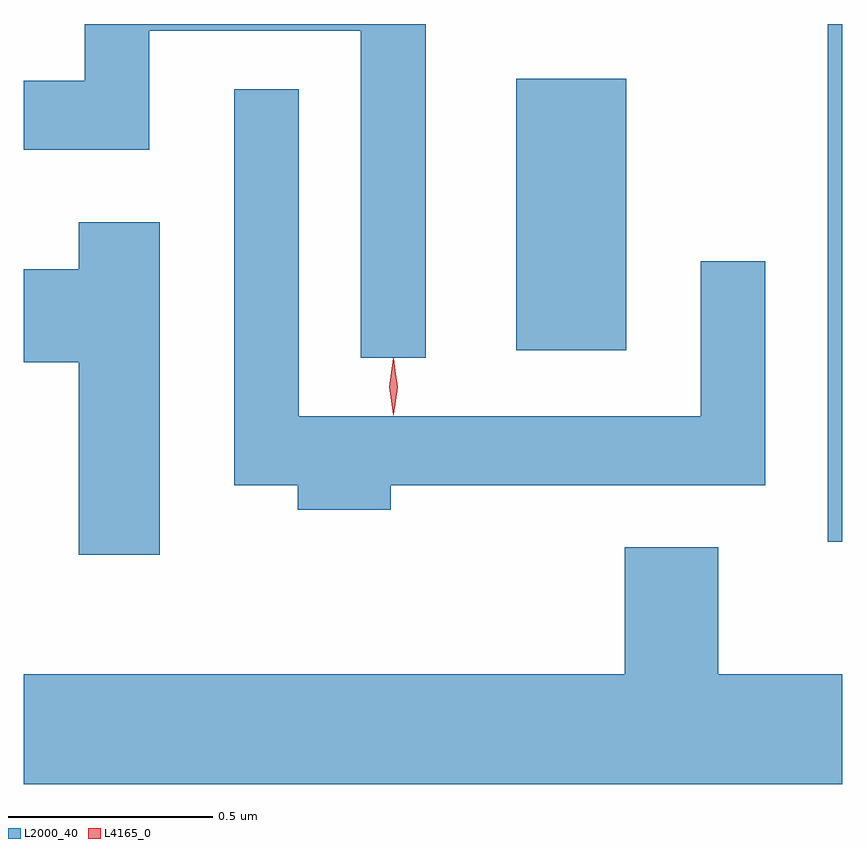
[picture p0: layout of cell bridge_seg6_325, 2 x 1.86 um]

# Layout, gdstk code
import gdstk
lib = gdstk.Library(unit=1e-6, precision=1e-09)
def R(c, l, rs):  # rectangles x0, y0, x1, y1
    for r in rs: c.add(gdstk.rectangle(r[:2], r[2:], *l))
def P(c, l, *ps):  # polygons
    for p in ps: c.add(gdstk.Polygon(p, *l))
L2000_40 = (2000, 40)
L4165_0 = (4165, 0)

bridge_seg6_325 = lib.new_cell('bridge_seg6_325')
R(bridge_seg6_325, L2000_40, [(1323.796,1539.528,1323.832,1540.793), (1323.036,1539.996,1323.304,1540.659)])
P(bridge_seg6_325, L2000_40, [(1322.814,1540.793),(1321.981,1540.793),(1321.981,1540.654),(1321.832,1540.654),(1321.832,1540.486),(1322.139,1540.486),(1322.139,1540.776),(1322.656,1540.776),(1322.656,1539.978),(1322.814,1539.978)],
  [(1322.729,1539.666),(1323.644,1539.666),(1323.644,1540.213),(1323.486,1540.213),(1323.486,1539.834),(1322.504,1539.834),(1322.504,1540.633),(1322.346,1540.633),(1322.346,1539.666),(1322.501,1539.666),(1322.501,1539.606),(1322.729,1539.606)],
  [(1322.164,1540.309),(1321.966,1540.309),(1321.966,1540.194),(1321.832,1540.194),(1321.832,1539.966),(1321.966,1539.966),(1321.966,1539.496),(1322.164,1539.496)],
  [(1323.301,1539.514),(1323.301,1539.204),(1321.832,1539.204),(1321.832,1538.936),(1323.832,1538.936),(1323.832,1539.204),(1323.529,1539.204),(1323.529,1539.514)])
P(bridge_seg6_325, L4165_0, [(1322.735,1539.837),(1322.735,1539.838),(1322.725,1539.907),(1322.735,1539.976),(1322.735,1539.976),(1322.736,1539.976),(1322.745,1539.907),(1322.736,1539.838)],
  [(1322.736,1539.839),(1322.735,1539.84),(1322.726,1539.906),(1322.735,1539.972),(1322.736,1539.973),(1322.736,1539.972),(1322.746,1539.906),(1322.736,1539.84)])

lib.write_gds('bridge_seg6_325.gds')
